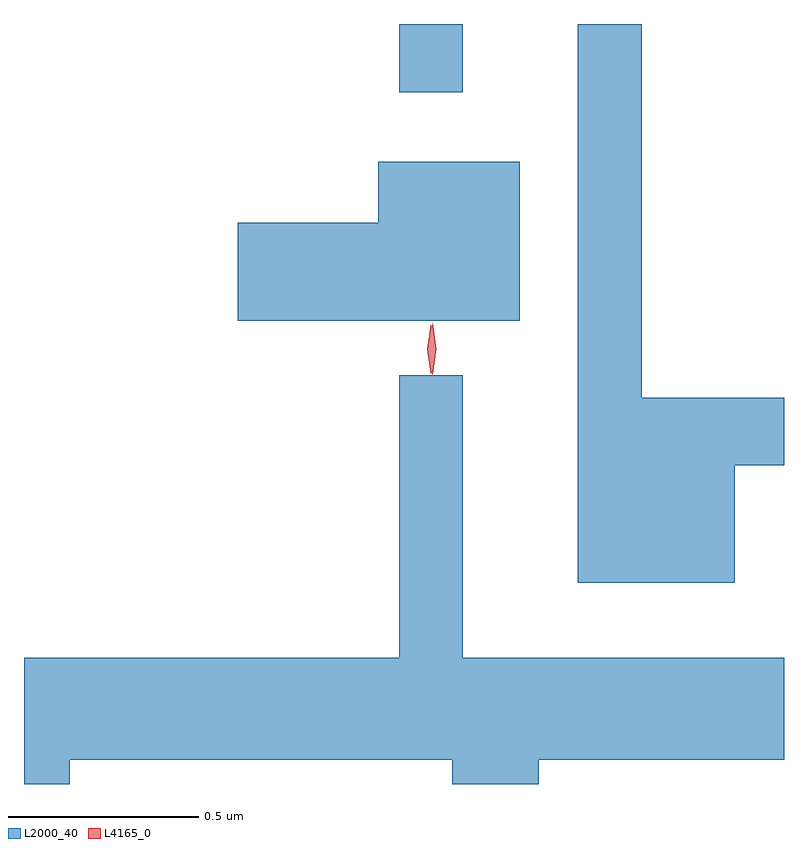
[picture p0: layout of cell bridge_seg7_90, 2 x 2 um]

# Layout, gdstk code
import gdstk
lib = gdstk.Library(unit=1e-6, precision=1e-09)
def R(c, l, rs):  # rectangles x0, y0, x1, y1
    for r in rs: c.add(gdstk.rectangle(r[:2], r[2:], *l))
def P(c, l, *ps):  # polygons
    for p in ps: c.add(gdstk.Polygon(p, *l))
L2000_40 = (2000, 40)
L4165_0 = (4165, 0)

bridge_seg7_90 = lib.new_cell('bridge_seg7_90')
R(bridge_seg7_90, L2000_40, [(1638.741,1756.033,1638.909,1756.212)])
P(bridge_seg7_90, L2000_40, [(1639.624,1755.051),(1639.754,1755.051),(1639.754,1755.229),(1639.379,1755.229),(1639.379,1756.212),(1639.211,1756.212),(1639.211,1754.741),(1639.624,1754.741)],
  [(1639.059,1755.849),(1638.686,1755.849),(1638.686,1755.689),(1638.316,1755.689),(1638.316,1755.431),(1639.059,1755.431)],
  [(1637.874,1754.276),(1638.881,1754.276),(1638.881,1754.212),(1639.109,1754.212),(1639.109,1754.276),(1639.754,1754.276),(1639.754,1754.544),(1638.909,1754.544),(1638.909,1755.288),(1638.741,1755.288),(1638.741,1754.544),(1637.754,1754.544),(1637.754,1754.212),(1637.874,1754.212)])
P(bridge_seg7_90, L4165_0, [(1638.828,1755.29),(1638.828,1755.29),(1638.819,1755.358),(1638.829,1755.425),(1638.83,1755.426),(1638.83,1755.425),(1638.839,1755.358),(1638.829,1755.29)],
  [(1638.824,1755.293),(1638.815,1755.356),(1638.824,1755.419),(1638.825,1755.42),(1638.826,1755.419),(1638.835,1755.356),(1638.826,1755.293),(1638.825,1755.293)])

lib.write_gds('bridge_seg7_90.gds')
